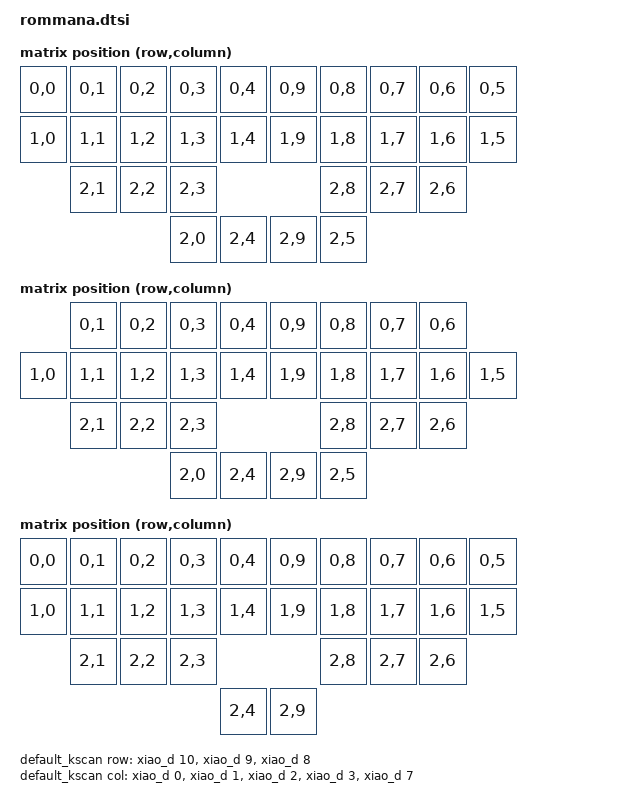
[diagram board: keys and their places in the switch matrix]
#include <dt-bindings/zmk/matrix_transform.h>

#include "rommana-layouts.dtsi"

/ {
    chosen {
        zmk,kscan = &default_kscan;
        zmk,physical-layout = &rommana_30_layout;
    };

    default_kscan: kscan_0 {
        compatible = "zmk,kscan-gpio-matrix";
        diode-direction = "col2row";
        wakeup-source;
        
        row-gpios
            = <&xiao_d 10 (GPIO_PULL_DOWN | GPIO_ACTIVE_HIGH)>
            , <&xiao_d  9 (GPIO_PULL_DOWN | GPIO_ACTIVE_HIGH)>
            , <&xiao_d  8 (GPIO_PULL_DOWN | GPIO_ACTIVE_HIGH)>
            ;
    
        col-gpios
            = <&xiao_d 0 GPIO_ACTIVE_HIGH>
            , <&xiao_d 1 GPIO_ACTIVE_HIGH>
            , <&xiao_d 2 GPIO_ACTIVE_HIGH>
            , <&xiao_d 3 GPIO_ACTIVE_HIGH>
            , <&xiao_d 7 GPIO_ACTIVE_HIGH>
            ;
    };

    thirty_transform: keymap_transform_0 {
        compatible = "zmk,matrix-transform";
        columns = <10>;
        rows = <4>;
        map = <
            RC(0,0) RC(0,1) RC(0,2) RC(0,3) RC(0,4)   RC(0,9) RC(0,8) RC(0,7) RC(0,6) RC(0,5)
            RC(1,0) RC(1,1) RC(1,2) RC(1,3) RC(1,4)   RC(1,9) RC(1,8) RC(1,7) RC(1,6) RC(1,5)
                    RC(2,1) RC(2,2) RC(2,3)                   RC(2,8) RC(2,7) RC(2,6)
                                    RC(2,0) RC(2,4)   RC(2,9) RC(2,5)
        >;
    };

    twentyeight_a_transform: keymap_transform_1 {
        compatible = "zmk,matrix-transform";
        columns = <10>;
        rows = <4>;
        map = <
                    RC(0,1) RC(0,2) RC(0,3) RC(0,4)   RC(0,9) RC(0,8) RC(0,7) RC(0,6)
            RC(1,0) RC(1,1) RC(1,2) RC(1,3) RC(1,4)   RC(1,9) RC(1,8) RC(1,7) RC(1,6) RC(1,5)
                    RC(2,1) RC(2,2) RC(2,3)                   RC(2,8) RC(2,7) RC(2,6)
                                    RC(2,0) RC(2,4)   RC(2,9) RC(2,5)
        >;
    };

    twentyeight_b_transform: keymap_transform_2 {
        compatible = "zmk,matrix-transform";
        columns = <10>;
        rows = <4>;
        map = <
            RC(0,0) RC(0,1) RC(0,2) RC(0,3) RC(0,4)   RC(0,9) RC(0,8) RC(0,7) RC(0,6) RC(0,5)
            RC(1,0) RC(1,1) RC(1,2) RC(1,3) RC(1,4)   RC(1,9) RC(1,8) RC(1,7) RC(1,6) RC(1,5)
                    RC(2,1) RC(2,2) RC(2,3)                   RC(2,8) RC(2,7) RC(2,6)
                                            RC(2,4)   RC(2,9)        
        >;
    };

    twentysix_transform: keymap_transform_3 {
        compatible = "zmk,matrix-transform";
        columns = <10>;
        rows = <4>;
        map = <
                    RC(0,1) RC(0,2) RC(0,3) RC(0,4)   RC(0,9) RC(0,8) RC(0,7) RC(0,6)
            RC(1,0) RC(1,1) RC(1,2) RC(1,3) RC(1,4)   RC(1,9) RC(1,8) RC(1,7) RC(1,6) RC(1,5)
                    RC(2,1) RC(2,2) RC(2,3)                   RC(2,8) RC(2,7) RC(2,6)
                                            RC(2,4)   RC(2,9)
        >;
    };
};

&rommana_30_layout {
    transform = <&thirty_transform>;
};

&rommana_28_a_layout {
    transform = <&twentyeight_a_transform>;
};

&rommana_28_b_layout {
    transform = <&twentyeight_b_transform>;
};

&rommana_26_layout {
    transform = <&twentysix_transform>;
};
